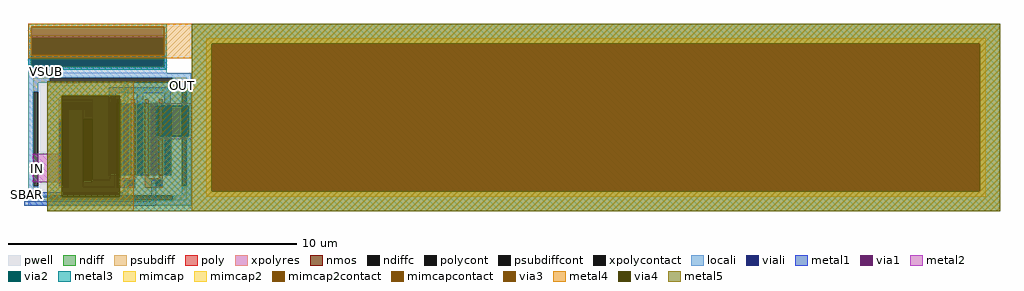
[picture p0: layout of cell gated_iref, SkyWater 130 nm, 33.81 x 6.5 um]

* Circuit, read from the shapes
.subckt gated_iref IN OUT S SBAR VSUB
XM1 VSUB SBAR n1 VSUB sky130_fd_pr__nfet_01v8 w=2.5 l=0.15 m=2
XM2 OUT S n1 VSUB sky130_fd_pr__nfet_01v8 w=2.5 l=0.15 m=2
XC3 VSUB OUT sky130_fd_pr__cap_mim_m3_1 w=27 l=5.5
XC4 OUT VSUB sky130_fd_pr__cap_mim_m3_2 w=27 l=5.5
XR5 IN n1 VSUB sky130_fd_pr__res_xhigh_po w=0.35 l=1.84
.ends

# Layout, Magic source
magic
tech sky130A
magscale 1 2
<< pwell >>
rect 1066 781 2200 860
rect 1066 772 1308 781
rect 1414 772 2200 781
rect 1066 744 2200 772
rect 1066 698 1730 744
rect 1734 698 2200 744
rect 1066 -60 2200 698
<< nmos >>
rect 1682 150 1712 650
rect 1778 150 1808 650
rect 1874 150 1904 650
rect 1970 150 2000 650
<< ndiff >>
rect 1620 638 1682 650
rect 1620 162 1632 638
rect 1666 162 1682 638
rect 1620 150 1682 162
rect 1712 638 1778 650
rect 1712 162 1728 638
rect 1762 162 1778 638
rect 1712 150 1778 162
rect 1808 638 1874 650
rect 1808 162 1824 638
rect 1858 162 1874 638
rect 1808 150 1874 162
rect 1904 638 1970 650
rect 1904 162 1920 638
rect 1954 162 1970 638
rect 1904 150 1970 162
rect 2000 638 2062 650
rect 2000 162 2016 638
rect 2050 162 2062 638
rect 2000 150 2062 162
<< ndiffc >>
rect 1632 162 1666 638
rect 1728 162 1762 638
rect 1824 162 1858 638
rect 1920 162 1954 638
rect 2016 162 2050 638
<< psubdiff >>
rect 1102 790 1218 824
rect 2068 790 2164 824
rect 1102 728 1136 790
rect 2130 728 2164 790
rect 1102 10 1136 72
rect 2130 10 2164 72
rect 1102 -24 1218 10
rect 2068 -24 2164 10
<< psubdiffcont >>
rect 1218 790 2068 824
rect 1102 72 1136 728
rect 2130 72 2164 728
rect 1218 -24 2068 10
<< poly >>
rect 1682 650 1712 676
rect 1778 650 1808 676
rect 1874 650 1904 676
rect 1970 650 2000 676
rect 1682 128 1712 150
rect 1778 128 1808 150
rect 1682 112 1808 128
rect 1682 78 1758 112
rect 1792 78 1808 112
rect 1682 62 1808 78
rect 1874 128 1904 150
rect 1970 128 2000 150
rect 1874 112 2000 128
rect 1874 78 1950 112
rect 1984 78 2000 112
rect 1874 62 2000 78
<< polycont >>
rect 1758 78 1792 112
rect 1950 78 1984 112
<< xpolycontact >>
rect 1278 106 1348 538
rect 1444 106 1514 538
<< xpolyres >>
rect 1278 604 1514 674
rect 1278 538 1348 604
rect 1444 538 1514 604
<< locali >>
rect 1068 960 2028 980
rect 1068 900 1088 960
rect 2008 900 2028 960
rect 1068 858 2028 900
rect 1068 824 2198 858
rect 1068 790 1218 824
rect 2068 790 2198 824
rect 1068 728 1136 790
rect 1068 72 1102 728
rect 1632 638 1666 654
rect 1068 10 1136 72
rect 1278 90 1287 106
rect 1340 90 1348 106
rect 1278 67 1348 90
rect 1632 118 1666 162
rect 1728 638 1762 790
rect 2130 728 2198 790
rect 1728 146 1762 162
rect 1824 638 1858 654
rect 1824 146 1858 162
rect 1920 638 1954 654
rect 1920 146 1954 162
rect 2016 638 2050 654
rect 2016 146 2050 162
rect 1514 106 1666 118
rect 1444 67 1666 106
rect 1742 78 1758 112
rect 1792 78 1808 112
rect 1934 78 1950 112
rect 1984 78 2000 112
rect 2164 72 2198 728
rect 2130 10 2198 72
rect 1068 -24 1218 10
rect 2068 -24 2198 10
rect 1068 -58 2198 -24
<< viali >>
rect 1088 900 2008 960
rect 1287 106 1340 522
rect 1287 90 1340 106
rect 1632 162 1666 638
rect 1728 162 1762 638
rect 1824 162 1858 638
rect 1920 162 1954 638
rect 2016 162 2050 638
rect 1758 78 1792 112
rect 1950 78 1984 112
<< metal1 >>
rect 1068 1100 2028 1120
rect 1068 900 1088 1100
rect 2008 900 2028 1100
rect 1068 880 2028 900
rect 1626 718 2056 758
rect 1626 638 1672 718
rect 1278 522 1348 538
rect 1278 519 1287 522
rect 1340 519 1348 522
rect 1626 162 1632 638
rect 1666 162 1672 638
rect 1626 150 1672 162
rect 1722 638 1768 650
rect 1722 162 1728 638
rect 1762 162 1768 638
rect 1722 150 1768 162
rect 1818 638 1864 718
rect 1818 162 1824 638
rect 1858 162 1864 638
rect 1818 150 1864 162
rect 1911 638 1963 650
rect 1911 635 1920 638
rect 1954 635 1963 638
rect 1911 162 1920 166
rect 1954 162 1963 166
rect 1911 149 1963 162
rect 2010 638 2056 718
rect 2010 162 2016 638
rect 2050 162 2056 638
rect 2010 150 2056 162
rect 1278 67 1348 90
rect 1728 112 1808 118
rect 1728 78 1758 112
rect 1792 78 1808 112
rect 1728 72 1808 78
rect 1920 112 2000 118
rect 1920 78 1950 112
rect 1984 78 2000 112
rect 1920 72 2000 78
rect 1728 33 1762 72
rect 1038 -1 1762 33
rect 1920 -29 1954 72
rect 1039 -63 1954 -29
<< via1 >>
rect 1088 960 2008 1100
rect 1088 900 2008 960
rect 1278 90 1287 519
rect 1287 90 1340 519
rect 1340 90 1348 519
rect 1911 166 1920 635
rect 1920 166 1954 635
rect 1954 166 1963 635
<< metal2 >>
rect 1068 1100 2028 1120
rect 1068 900 1088 1100
rect 2008 900 2028 1100
rect 1068 880 2028 900
rect 1911 635 2199 650
rect 1963 630 2199 635
rect 1278 519 1348 538
rect 1100 100 1278 300
rect 2180 420 2199 630
rect 1963 400 2199 420
rect 1911 149 1963 166
rect 1278 67 1348 90
<< via2 >>
rect 1088 900 2008 1100
rect 1960 420 1963 630
rect 1963 420 2180 630
<< metal3 >>
rect 1068 1180 2028 1200
rect 1068 900 1088 1180
rect 2008 900 2028 1180
rect 1068 880 2028 900
rect 2200 800 7800 1200
rect 1200 700 7800 800
rect 1200 0 1300 700
rect 1700 630 7800 700
rect 1700 420 1960 630
rect 2180 420 7800 630
rect 1700 0 7800 420
rect 1200 -100 7800 0
<< via3 >>
rect 1088 1100 2008 1180
rect 1088 980 2008 1100
rect 1300 0 1700 700
<< mimcap >>
rect 2300 1060 7700 1100
rect 2300 40 2340 1060
rect 7660 40 7700 1060
rect 2300 0 7700 40
<< mimcapcontact >>
rect 2340 40 7660 1060
<< metal4 >>
rect 1068 1180 7800 1200
rect 1068 980 1088 1180
rect 2008 1060 7800 1180
rect 2008 980 2340 1060
rect 1068 960 2340 980
rect 1200 700 1800 800
rect 1200 0 1300 700
rect 1700 0 1800 700
rect 1200 -100 1800 0
rect 2200 40 2340 960
rect 7660 40 7800 1060
rect 2200 -100 7800 40
<< via4 >>
rect 1300 0 1700 700
<< mimcap2 >>
rect 2300 1060 7700 1100
rect 2300 40 2340 1060
rect 7660 40 7700 1060
rect 2300 0 7700 40
<< mimcap2contact >>
rect 2340 40 7660 1060
<< metal5 >>
rect 2200 1060 7800 1200
rect 2200 800 2340 1060
rect 1200 700 2340 800
rect 1200 0 1300 700
rect 1700 40 2340 700
rect 7660 40 7800 1060
rect 1700 0 7800 40
rect 1200 -100 7800 0
<< labels >>
rlabel metal2 1100 100 1158 300 1 IN
rlabel locali 1068 862 1324 880 1 VSUB
rlabel metal5 2070 740 2198 798 1 OUT
rlabel metal1 1040 0 1064 32 1 SBAR
rlabel metal1 1040 -62 1064 -30 1 S
<< end >>
